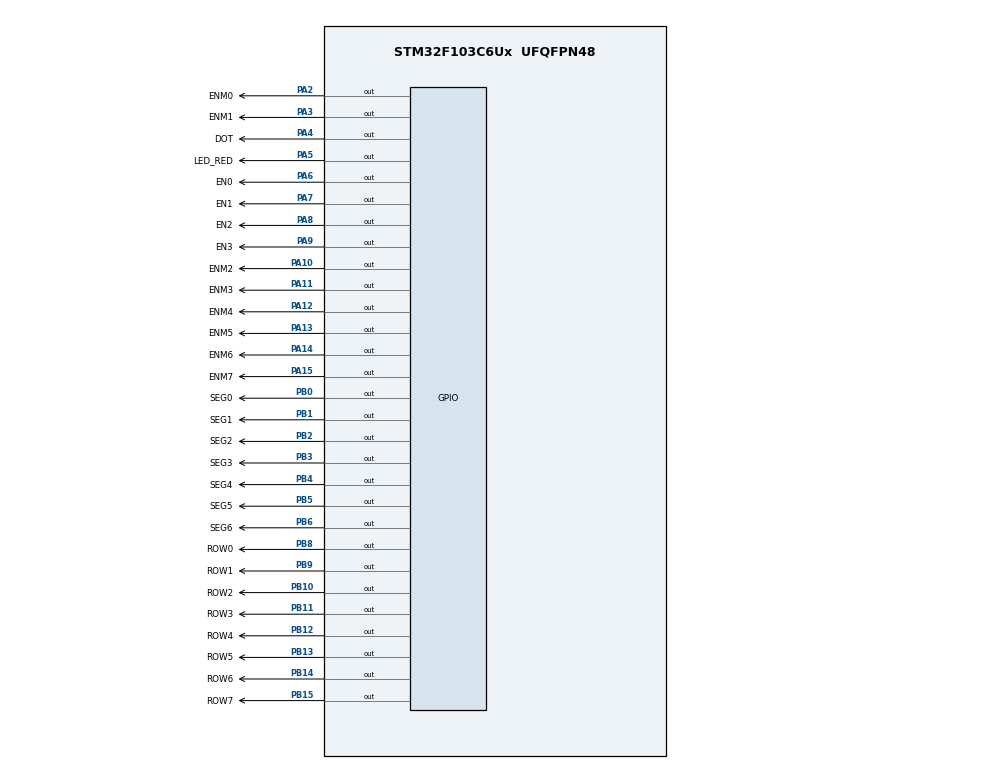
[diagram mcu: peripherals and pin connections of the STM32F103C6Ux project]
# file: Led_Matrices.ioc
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Mcu.Family=STM32F1
Mcu.Name=STM32F103C6Ux
Mcu.Package=UFQFPN48
NVIC.PriorityGroup=NVIC_PRIORITYGROUP_4
NVIC.TIM2_IRQn=true\:0\:0\:false\:false\:true\:true\:true
PA10.GPIO_Label=ENM2
PA10.Signal=GPIO_Output
PA11.GPIO_Label=ENM3
PA11.Signal=GPIO_Output
PA12.GPIO_Label=ENM4
PA12.Signal=GPIO_Output
PA13.GPIO_Label=ENM5
PA13.Signal=GPIO_Output
PA14.GPIO_Label=ENM6
PA14.Signal=GPIO_Output
PA15.GPIO_Label=ENM7
PA15.Signal=GPIO_Output
PA2.GPIO_Label=ENM0
PA2.Signal=GPIO_Output
PA3.GPIO_Label=ENM1
PA3.Signal=GPIO_Output
PA4.GPIO_Label=DOT
PA4.Signal=GPIO_Output
PA5.GPIO_Label=LED_RED
PA5.Signal=GPIO_Output
PA6.GPIO_Label=EN0
PA6.Signal=GPIO_Output
PA7.GPIO_Label=EN1
PA7.Signal=GPIO_Output
PA8.GPIO_Label=EN2
PA8.Signal=GPIO_Output
PA9.GPIO_Label=EN3
PA9.Signal=GPIO_Output
PB0.GPIO_Label=SEG0
PB0.Signal=GPIO_Output
PB1.GPIO_Label=SEG1
PB1.Signal=GPIO_Output
PB10.GPIO_Label=ROW2
PB10.Signal=GPIO_Output
PB11.GPIO_Label=ROW3
PB11.Signal=GPIO_Output
PB12.GPIO_Label=ROW4
PB12.Signal=GPIO_Output
PB13.GPIO_Label=ROW5
PB13.Signal=GPIO_Output
PB14.GPIO_Label=ROW6
PB14.Signal=GPIO_Output
PB15.GPIO_Label=ROW7
PB15.Signal=GPIO_Output
PB2.GPIO_Label=SEG2
PB2.Signal=GPIO_Output
PB3.GPIO_Label=SEG3
PB3.Signal=GPIO_Output
PB4.GPIO_Label=SEG4
PB4.Signal=GPIO_Output
PB5.GPIO_Label=SEG5
PB5.Signal=GPIO_Output
PB6.GPIO_Label=SEG6
PB6.Signal=GPIO_Output
PB8.GPIO_Label=ROW0
PB8.Signal=GPIO_Output
PB9.GPIO_Label=ROW1
PB9.Signal=GPIO_Output
ProjectManager.HeapSize=0x200
ProjectManager.StackSize=0x400
ProjectManager.TargetToolchain=STM32CubeIDE
RCC.APB1Freq_Value=8000000
RCC.APB2Freq_Value=8000000
TIM2.Period=9
TIM2.Prescaler=7999
VP_SYS_VS_ND.Mode=No_Debug
VP_TIM2_VS_ClockSourceINT.Mode=Internal
board=custom

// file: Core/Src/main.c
/* USER CODE BEGIN Header */
/**
  ******************************************************************************
  * @file           : main.c
  * @brief          : Main program body
  ******************************************************************************
  * @attention
  *
  * <h2><center>&copy; Copyright (c) 2025 STMicroelectronics.
  * All rights reserved.</center></h2>
  *
  * This software component is licensed by ST under BSD 3-Clause license,
  * the "License"; You may not use this file except in compliance with the
  * License. You may obtain a copy of the License at:
  *                        opensource.org/licenses/BSD-3-Clause
  *
  ******************************************************************************
  */
/* USER CODE END Header */
#include "main.h"

TIM_HandleTypeDef htim2;

void SystemClock_Config(void);
static void MX_GPIO_Init(void);
static void MX_TIM2_Init(void);

/* USER CODE BEGIN 0 */
/* USER CODE BEGIN 0 */
const int MAX_LED_MATRIX = 8;
int index_led_matrix = 0;
uint8_t matrix_buffer[8] = {
     0b00011000,
     0b00100100,
     0b00100100,
     0b00111100,
     0b00100100,
     0b00100100,
     0b00100100,
     0b00000000
};
void updateLEDMatrix(int index)
{
    // 1. Disable all columns (ENM0..ENM7 HIGH)
    HAL_GPIO_WritePin(GPIOA, ENM0_Pin|ENM1_Pin|ENM2_Pin|ENM3_Pin|
                             ENM4_Pin|ENM5_Pin|ENM6_Pin|ENM7_Pin, GPIO_PIN_SET);

    // 2. Xuất dữ liệu hàng (PB8..PB15)
    for (int row = 0; row < 8; row++) {
        GPIO_PinState state = (matrix_buffer[index] & (1 << row)) ? GPIO_PIN_RESET : GPIO_PIN_SET;
        HAL_GPIO_WritePin(GPIOB, (ROW0_Pin << row), state);
    }

    // 3. Enable cột hiện tại (Active Low)
    switch(index) {
        case 0: HAL_GPIO_WritePin(GPIOA, ENM0_Pin, GPIO_PIN_RESET); break;
        case 1: HAL_GPIO_WritePin(GPIOA, ENM1_Pin, GPIO_PIN_RESET); break;
        case 2: HAL_GPIO_WritePin(GPIOA, ENM2_Pin, GPIO_PIN_RESET); break;
        case 3: HAL_GPIO_WritePin(GPIOA, ENM3_Pin, GPIO_PIN_RESET); break;
        case 4: HAL_GPIO_WritePin(GPIOA, ENM4_Pin, GPIO_PIN_RESET); break;
        case 5: HAL_GPIO_WritePin(GPIOA, ENM5_Pin, GPIO_PIN_RESET); break;
        case 6: HAL_GPIO_WritePin(GPIOA, ENM6_Pin, GPIO_PIN_RESET); break;
        case 7: HAL_GPIO_WritePin(GPIOA, ENM7_Pin, GPIO_PIN_RESET); break;
    }
}

/* USER CODE END 0 */

int main(void)
{

  /* MCU Configuration--------------------------------------------------------*/

  /* Reset of all peripherals, Initializes the Flash interface and the Systick. */
  HAL_Init();

  /* Configure the system clock */
  SystemClock_Config();

  /* Initialize all configured peripherals */
  MX_GPIO_Init();
  MX_TIM2_Init();
  /* USER CODE BEGIN 2 */
    // Initialize all ENM pins to HIGH (disabled)
    HAL_GPIO_WritePin(GPIOA, ENM0_Pin|ENM1_Pin|ENM2_Pin|ENM3_Pin|
                             ENM4_Pin|ENM5_Pin|ENM6_Pin|ENM7_Pin, GPIO_PIN_SET);
  /* USER CODE END 2 */

  /* Infinite loop */
    while (1)
    {
    	    updateLEDMatrix(index_led_matrix);
    	    index_led_matrix++;
    	    if (index_led_matrix >= MAX_LED_MATRIX) index_led_matrix = 0;

    	    HAL_Delay(1); // Adjust delay to set refresh rate (~1ms → ~125Hz refresh total)

    }
}

void SystemClock_Config(void)
{
  RCC_OscInitTypeDef RCC_OscInitStruct = {0};
  RCC_ClkInitTypeDef RCC_ClkInitStruct = {0};

  /** Initializes the RCC Oscillators according to the specified parameters
  * in the RCC_OscInitTypeDef structure.
  */
  RCC_OscInitStruct.OscillatorType = RCC_OSCILLATORTYPE_HSI;
  RCC_OscInitStruct.HSIState = RCC_HSI_ON;
  RCC_OscInitStruct.HSICalibrationValue = RCC_HSICALIBRATION_DEFAULT;
  RCC_OscInitStruct.PLL.PLLState = RCC_PLL_NONE;
  if (HAL_RCC_OscConfig(&RCC_OscInitStruct) != HAL_OK)
  {
    Error_Handler();
  }
  /** Initializes the CPU, AHB and APB buses clocks
  */
  RCC_ClkInitStruct.ClockType = RCC_CLOCKTYPE_HCLK|RCC_CLOCKTYPE_SYSCLK
                              |RCC_CLOCKTYPE_PCLK1|RCC_CLOCKTYPE_PCLK2;
  RCC_ClkInitStruct.SYSCLKSource = RCC_SYSCLKSOURCE_HSI;
  RCC_ClkInitStruct.AHBCLKDivider = RCC_SYSCLK_DIV1;
  RCC_ClkInitStruct.APB1CLKDivider = RCC_HCLK_DIV1;
  RCC_ClkInitStruct.APB2CLKDivider = RCC_HCLK_DIV1;

  if (HAL_RCC_ClockConfig(&RCC_ClkInitStruct, FLASH_LATENCY_0) != HAL_OK)
  {
    Error_Handler();
  }
}

static void MX_TIM2_Init(void)
{

  TIM_ClockConfigTypeDef sClockSourceConfig = {0};
  TIM_MasterConfigTypeDef sMasterConfig = {0};

  htim2.Instance = TIM2;
  htim2.Init.Prescaler = 7999;
  htim2.Init.CounterMode = TIM_COUNTERMODE_UP;
  htim2.Init.Period = 9;
  htim2.Init.ClockDivision = TIM_CLOCKDIVISION_DIV1;
  htim2.Init.AutoReloadPreload = TIM_AUTORELOAD_PRELOAD_DISABLE;
  if (HAL_TIM_Base_Init(&htim2) != HAL_OK)
  {
    Error_Handler();
  }
  sClockSourceConfig.ClockSource = TIM_CLOCKSOURCE_INTERNAL;
  if (HAL_TIM_ConfigClockSource(&htim2, &sClockSourceConfig) != HAL_OK)
  {
    Error_Handler();
  }
  sMasterConfig.MasterOutputTrigger = TIM_TRGO_RESET;
  sMasterConfig.MasterSlaveMode = TIM_MASTERSLAVEMODE_DISABLE;
  if (HAL_TIMEx_MasterConfigSynchronization(&htim2, &sMasterConfig) != HAL_OK)
  {
    Error_Handler();
  }

}

static void MX_GPIO_Init(void)
{
  GPIO_InitTypeDef GPIO_InitStruct = {0};

  /* GPIO Ports Clock Enable */
  __HAL_RCC_GPIOA_CLK_ENABLE();
  __HAL_RCC_GPIOB_CLK_ENABLE();

  /*Configure GPIO pin Output Level */
  HAL_GPIO_WritePin(GPIOA, ENM0_Pin|ENM1_Pin|DOT_Pin|LED_RED_Pin
                          |EN0_Pin|EN1_Pin|EN2_Pin|EN3_Pin
                          |ENM2_Pin|ENM3_Pin|ENM4_Pin|ENM5_Pin
                          |ENM6_Pin|ENM7_Pin, GPIO_PIN_SET);

  /*Configure GPIO pin Output Level */
  HAL_GPIO_WritePin(GPIOB, SEG0_Pin|SEG1_Pin|SEG2_Pin|ROW2_Pin
                          |ROW3_Pin|ROW4_Pin|ROW5_Pin|ROW6_Pin
                          |ROW7_Pin|SEG3_Pin|SEG4_Pin|SEG5_Pin
                          |SEG6_Pin|ROW0_Pin|ROW1_Pin, GPIO_PIN_RESET);

  /*Configure GPIO pins : ENM0_Pin ENM1_Pin DOT_Pin LED_RED_Pin
                           EN0_Pin EN1_Pin EN2_Pin EN3_Pin
                           ENM2_Pin ENM3_Pin ENM4_Pin ENM5_Pin
                           ENM6_Pin ENM7_Pin */
  GPIO_InitStruct.Pin = ENM0_Pin|ENM1_Pin|DOT_Pin|LED_RED_Pin
                          |EN0_Pin|EN1_Pin|EN2_Pin|EN3_Pin
                          |ENM2_Pin|ENM3_Pin|ENM4_Pin|ENM5_Pin
                          |ENM6_Pin|ENM7_Pin;
  GPIO_InitStruct.Mode = GPIO_MODE_OUTPUT_PP;
  GPIO_InitStruct.Pull = GPIO_NOPULL;
  GPIO_InitStruct.Speed = GPIO_SPEED_FREQ_LOW;
  HAL_GPIO_Init(GPIOA, &GPIO_InitStruct);

  /*Configure GPIO pins : SEG0_Pin SEG1_Pin SEG2_Pin ROW2_Pin
                           ROW3_Pin ROW4_Pin ROW5_Pin ROW6_Pin
                           ROW7_Pin SEG3_Pin SEG4_Pin SEG5_Pin
                           SEG6_Pin ROW0_Pin ROW1_Pin */
  GPIO_InitStruct.Pin = SEG0_Pin|SEG1_Pin|SEG2_Pin|ROW2_Pin
                          |ROW3_Pin|ROW4_Pin|ROW5_Pin|ROW6_Pin
                          |ROW7_Pin|SEG3_Pin|SEG4_Pin|SEG5_Pin
                          |SEG6_Pin|ROW0_Pin|ROW1_Pin;
  GPIO_InitStruct.Mode = GPIO_MODE_OUTPUT_PP;
  GPIO_InitStruct.Pull = GPIO_NOPULL;
  GPIO_InitStruct.Speed = GPIO_SPEED_FREQ_LOW;
  HAL_GPIO_Init(GPIOB, &GPIO_InitStruct);

}

/* USER CODE BEGIN 4 */
//void HAL_TIM_PeriodElapsedCallback(TIM_HandleTypeDef *htim)
//{
//    if (htim->Instance == TIM2) {
//        updateLEDMatrix(index_led_matrix);
//        index_led_matrix++;
//        if (index_led_matrix >= MAX_LED_MATRIX) {
//            index_led_matrix = 0;
//        }
//    }
//}

/* USER CODE END 4 */

void Error_Handler(void)
{
  __disable_irq();
  while (1)
  {
  }
}

/************************ (C) COPYRIGHT STMicroelectronics *****END OF FILE****/
